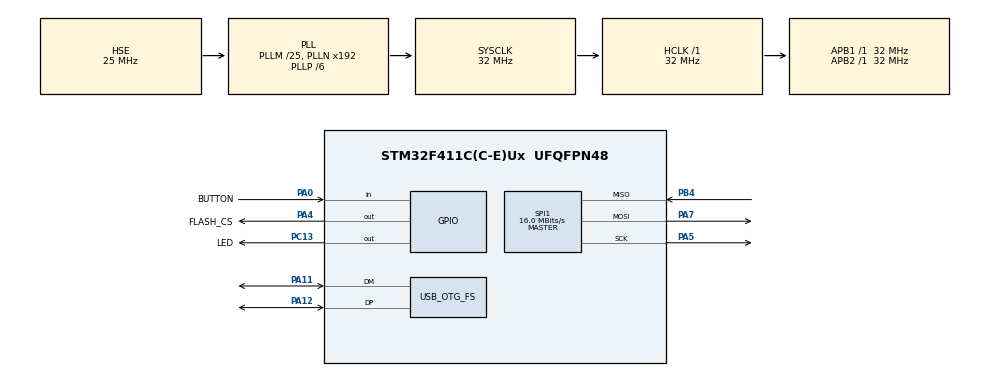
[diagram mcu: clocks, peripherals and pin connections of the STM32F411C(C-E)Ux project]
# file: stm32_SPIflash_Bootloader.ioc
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Mcu.Family=STM32F4
Mcu.Name=STM32F411C(C-E)Ux
Mcu.Package=UFQFPN48
NVIC.OTG_FS_IRQn=true\:0\:0\:false\:false\:true\:false\:true\:true
NVIC.PriorityGroup=NVIC_PRIORITYGROUP_4
PA0-WKUP.GPIO_Label=BUTTON
PA0-WKUP.GPIO_PuPd=GPIO_PULLUP
PA0-WKUP.Signal=GPIO_Input
PA11.Mode=Device_Only
PA11.Signal=USB_OTG_FS_DM
PA12.Mode=Device_Only
PA12.Signal=USB_OTG_FS_DP
PA4.GPIO_Label=FLASH_CS
PA4.Signal=GPIO_Output
PA5.Mode=Full_Duplex_Master
PA5.Signal=SPI1_SCK
PA7.Mode=Full_Duplex_Master
PA7.Signal=SPI1_MOSI
PB4.Mode=Full_Duplex_Master
PB4.Signal=SPI1_MISO
PC13-ANTI_TAMP.GPIO_Label=LED
PC13-ANTI_TAMP.Signal=GPIO_Output
PH0\ -\ OSC_IN.Mode=HSE-External-Oscillator
PH0\ -\ OSC_IN.Signal=RCC_OSC_IN
PH1\ -\ OSC_OUT.Mode=HSE-External-Oscillator
PH1\ -\ OSC_OUT.Signal=RCC_OSC_OUT
ProjectManager.HeapSize=0x200
ProjectManager.StackSize=0x400
ProjectManager.TargetToolchain=STM32CubeIDE
RCC.48MHZClocksFreq_Value=48000000
RCC.AHBFreq_Value=32000000
RCC.APB1Freq_Value=32000000
RCC.APB1TimFreq_Value=32000000
RCC.APB2Freq_Value=32000000
RCC.APB2TimFreq_Value=32000000
RCC.CortexFreq_Value=32000000
RCC.HCLKFreq_Value=32000000
RCC.HSE_VALUE=25000000
RCC.HSI_VALUE=16000000
RCC.LSE_VALUE=32768
RCC.PLLM=25
RCC.PLLP=RCC_PLLP_DIV6
RCC.SYSCLKFreq_VALUE=32000000
RCC.SYSCLKSource=RCC_SYSCLKSOURCE_PLLCLK
RCC.VCOOutputFreq_Value=192000000
SPI1.CalculateBaudRate=16.0 MBits/s
SPI1.Direction=SPI_DIRECTION_2LINES
SPI1.Mode=SPI_MODE_MASTER
SPI1.VirtualType=VM_MASTER
USB_DEVICE.CLASS_NAME_FS=CDC
USB_DEVICE.VirtualMode=Cdc
USB_DEVICE.VirtualModeFS=Cdc_FS
USB_OTG_FS.VirtualMode=Device_Only
VP_USB_DEVICE_VS_USB_DEVICE_CDC_FS.Mode=CDC_FS
board=custom

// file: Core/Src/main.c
/* USER CODE BEGIN Header */
/**
  ******************************************************************************
  * @file           : main.c
  * @brief          : Main program body
  ******************************************************************************
  * @attention
  *
  * Copyright (c) 2024 STMicroelectronics.
  * All rights reserved.
  *
  * This software is licensed under terms that can be found in the LICENSE file
  * in the root directory of this software component.
  * If no LICENSE file comes with this software, it is provided AS-IS.
  *
  ******************************************************************************
  */
/* USER CODE END Header */
#include "main.h"
#include "usb_device.h"

SPI_HandleTypeDef hspi1;

void SystemClock_Config(void);
static void MX_GPIO_Init(void);
static void MX_SPI1_Init(void);

/* USER CODE BEGIN 0 */
#ifdef __GNUC__
/* With GCC/RAISONANCE, small printf (option LD Linker->Libraries->Small printf
   set to 'Yes') calls __io_putchar() */
#define PUTCHAR_PROTOTYPE int __io_putchar(int ch)
#else
#define PUTCHAR_PROTOTYPE int fputc(int ch, FILE *f)
#endif /* __GNUC__ */
#define DBG_BUFF_LEN 64
char dbg_buff[DBG_BUFF_LEN];
uint8_t dbg_buff_idx;
PUTCHAR_PROTOTYPE
{
	if(dbg_buff_idx<DBG_BUFF_LEN)
	{
		dbg_buff[dbg_buff_idx++] = ch;
	}

	if(ch == '\n' || ch == '\r')
	{
	  //CDC_Transmit_FS((uint8_t *)&dbg_buff[0], dbg_buff_idx);
	  dbg_buff_idx=0;
	}
	return ch;
}
/* USER CODE END 0 */

int main(void)
{

  /* MCU Configuration--------------------------------------------------------*/

  /* Reset of all peripherals, Initializes the Flash interface and the Systick. */
  HAL_Init();

  /* Configure the system clock */
  SystemClock_Config();

  /* Initialize all configured peripherals */
  MX_GPIO_Init();
  MX_SPI1_Init();
  MX_USB_DEVICE_Init();

  /* Infinite loop */
  /* USER CODE BEGIN WHILE */
  while (1)
  {
	  //printf("I am Mayank Patel. How are you?\n");

	  HAL_GPIO_WritePin(GPIOC, GPIO_PIN_13, GPIO_PIN_RESET);
	  HAL_Delay(35);
	  HAL_GPIO_WritePin(GPIOC, GPIO_PIN_13, GPIO_PIN_SET);
	  HAL_Delay(2000);
    /* USER CODE END WHILE */

  }
}

void SystemClock_Config(void)
{
  RCC_OscInitTypeDef RCC_OscInitStruct = {0};
  RCC_ClkInitTypeDef RCC_ClkInitStruct = {0};

  /** Configure the main internal regulator output voltage
  */
  __HAL_RCC_PWR_CLK_ENABLE();
  __HAL_PWR_VOLTAGESCALING_CONFIG(PWR_REGULATOR_VOLTAGE_SCALE1);

  /** Initializes the RCC Oscillators according to the specified parameters
  * in the RCC_OscInitTypeDef structure.
  */
  RCC_OscInitStruct.OscillatorType = RCC_OSCILLATORTYPE_HSE;
  RCC_OscInitStruct.HSEState = RCC_HSE_ON;
  RCC_OscInitStruct.PLL.PLLState = RCC_PLL_ON;
  RCC_OscInitStruct.PLL.PLLSource = RCC_PLLSOURCE_HSE;
  RCC_OscInitStruct.PLL.PLLM = 25;
  RCC_OscInitStruct.PLL.PLLN = 192;
  RCC_OscInitStruct.PLL.PLLP = RCC_PLLP_DIV6;
  RCC_OscInitStruct.PLL.PLLQ = 4;
  if (HAL_RCC_OscConfig(&RCC_OscInitStruct) != HAL_OK)
  {
    Error_Handler();
  }

  /** Initializes the CPU, AHB and APB buses clocks
  */
  RCC_ClkInitStruct.ClockType = RCC_CLOCKTYPE_HCLK|RCC_CLOCKTYPE_SYSCLK
                              |RCC_CLOCKTYPE_PCLK1|RCC_CLOCKTYPE_PCLK2;
  RCC_ClkInitStruct.SYSCLKSource = RCC_SYSCLKSOURCE_PLLCLK;
  RCC_ClkInitStruct.AHBCLKDivider = RCC_SYSCLK_DIV1;
  RCC_ClkInitStruct.APB1CLKDivider = RCC_HCLK_DIV1;
  RCC_ClkInitStruct.APB2CLKDivider = RCC_HCLK_DIV1;

  if (HAL_RCC_ClockConfig(&RCC_ClkInitStruct, FLASH_LATENCY_1) != HAL_OK)
  {
    Error_Handler();
  }
}

static void MX_SPI1_Init(void)
{

  /* SPI1 parameter configuration*/
  hspi1.Instance = SPI1;
  hspi1.Init.Mode = SPI_MODE_MASTER;
  hspi1.Init.Direction = SPI_DIRECTION_2LINES;
  hspi1.Init.DataSize = SPI_DATASIZE_8BIT;
  hspi1.Init.CLKPolarity = SPI_POLARITY_LOW;
  hspi1.Init.CLKPhase = SPI_PHASE_1EDGE;
  hspi1.Init.NSS = SPI_NSS_SOFT;
  hspi1.Init.BaudRatePrescaler = SPI_BAUDRATEPRESCALER_2;
  hspi1.Init.FirstBit = SPI_FIRSTBIT_MSB;
  hspi1.Init.TIMode = SPI_TIMODE_DISABLE;
  hspi1.Init.CRCCalculation = SPI_CRCCALCULATION_DISABLE;
  hspi1.Init.CRCPolynomial = 10;
  if (HAL_SPI_Init(&hspi1) != HAL_OK)
  {
    Error_Handler();
  }

}

static void MX_GPIO_Init(void)
{
  GPIO_InitTypeDef GPIO_InitStruct = {0};

  /* GPIO Ports Clock Enable */
  __HAL_RCC_GPIOC_CLK_ENABLE();
  __HAL_RCC_GPIOH_CLK_ENABLE();
  __HAL_RCC_GPIOA_CLK_ENABLE();
  __HAL_RCC_GPIOB_CLK_ENABLE();

  /*Configure GPIO pin Output Level */
  HAL_GPIO_WritePin(LED_GPIO_Port, LED_Pin, GPIO_PIN_RESET);

  /*Configure GPIO pin Output Level */
  HAL_GPIO_WritePin(FLASH_CS_GPIO_Port, FLASH_CS_Pin, GPIO_PIN_RESET);

  /*Configure GPIO pin : LED_Pin */
  GPIO_InitStruct.Pin = LED_Pin;
  GPIO_InitStruct.Mode = GPIO_MODE_OUTPUT_PP;
  GPIO_InitStruct.Pull = GPIO_NOPULL;
  GPIO_InitStruct.Speed = GPIO_SPEED_FREQ_LOW;
  HAL_GPIO_Init(LED_GPIO_Port, &GPIO_InitStruct);

  /*Configure GPIO pin : BUTTON_Pin */
  GPIO_InitStruct.Pin = BUTTON_Pin;
  GPIO_InitStruct.Mode = GPIO_MODE_INPUT;
  GPIO_InitStruct.Pull = GPIO_PULLUP;
  HAL_GPIO_Init(BUTTON_GPIO_Port, &GPIO_InitStruct);

  /*Configure GPIO pin : FLASH_CS_Pin */
  GPIO_InitStruct.Pin = FLASH_CS_Pin;
  GPIO_InitStruct.Mode = GPIO_MODE_OUTPUT_PP;
  GPIO_InitStruct.Pull = GPIO_NOPULL;
  GPIO_InitStruct.Speed = GPIO_SPEED_FREQ_LOW;
  HAL_GPIO_Init(FLASH_CS_GPIO_Port, &GPIO_InitStruct);

}

void Error_Handler(void)
{
  __disable_irq();
  while (1)
  {
  }
}
